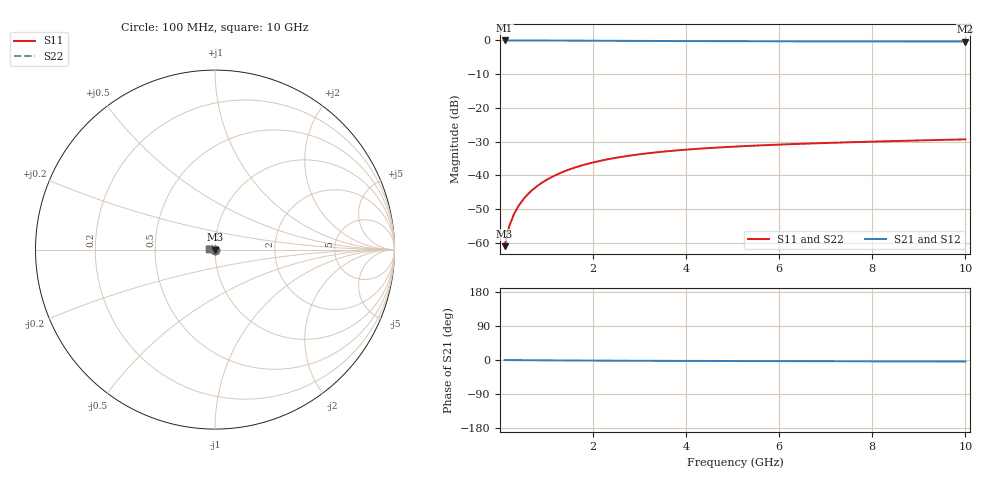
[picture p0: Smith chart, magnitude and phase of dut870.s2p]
! Touchstone file exported from HFSS 2024.1.0
!  File:  C:/UserFiles/LocalFiles/RDL_TSV_Batchsim/temp_TSV1_870_1779882747.aedt
!  Generated:  07:58:58 PM May 27, 2026
!  Design:  TSV1
!  Project:  temp_TSV1_870_1779882747
!  Setup:  Setup1
!  Solution:  Sweep
! Variables:
!  dtsv = 9.76um
!  hbump = 3um
!  htsv = 59.63um
!  lrdl = 252.1521522um
!  p = 40
!  p1 = 51.62um
!  t = 500um
!  trdl = 3um
!  wrdl = 24.89489489um
# GHz S MA R 50.000000
! Terminal data exported
! Port[1] = TSV22_T1
! Port[2] = TSV22_T2
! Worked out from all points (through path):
!   100 points, 100 MHz to 10 GHz, reference 50 ohm
!   highest |S21| = 0.00 dB at 100 MHz (marker M1); lowest = -0.3 dB at 10 GHz (marker M2)
!   lowest |S11| = -61.1 dB at 100 MHz (marker M3), VSWR 1.00, Z = 50 - j0.0878 ohm
!   |S11| at or under -10 dB: start of sweep to end of sweep
!   |S22| runs from -61.1 to -29.4 dB; largest |S21 - S12| = 6e-15
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0.1  0.0008837 -83.6  0.9998 -0.1  0.9998 -0.1  0.0008837 -83.6
! Gamma 0 0 0 0
! Port Impedance 50 0 50 0
0.2  0.001758 -89.5  0.9997 -0.2  0.9997 -0.2  0.001758 -89.5
0.3  0.002634 -92.7  0.9996 -0.3  0.9996 -0.3  0.002634 -92.7
0.4  0.003507 -95.4  0.9993 -0.4  0.9993 -0.4  0.003507 -95.4
0.5  0.004372 -97.7  0.9991 -0.5  0.9991 -0.5  0.004372 -97.7
0.6  0.005227 -100.0  0.9987 -0.6  0.9987 -0.6  0.005227 -100.0
0.7  0.00607 -102.1  0.9984 -0.7  0.9984 -0.7  0.00607 -102.1
0.8  0.0069 -104.1  0.998 -0.7  0.998 -0.7  0.0069 -104.1
0.9  0.007714 -106.1  0.9975 -0.8  0.9975 -0.8  0.007714 -106.1
1.1  0.009294 -109.9  0.9964 -1.0  0.9964 -1.0  0.009294 -109.9
1.4  0.01152 -115.4  0.9947 -1.2  0.9947 -1.2  0.01152 -115.4
1.6  0.01291 -118.8  0.9934 -1.4  0.9934 -1.4  0.01291 -118.8
1.8  0.01422 -122.2  0.992 -1.5  0.992 -1.5  0.01422 -122.2
2.1  0.01602 -126.9  0.99 -1.7  0.99 -1.7  0.01602 -126.9
2.5  0.01815 -132.7  0.9872 -1.9  0.9872 -1.9  0.01815 -132.7
2.9  0.02 -138.0  0.9847 -2.0  0.9847 -2.0  0.02 -138.0
3.4  0.02197 -144.0  0.9817 -2.2  0.9817 -2.2  0.02197 -144.0
4.2  0.02449 -152.4  0.9777 -2.5  0.9777 -2.5  0.02449 -152.4
5.1  0.02668 -160.5  0.9741 -2.8  0.9741 -2.8  0.02668 -160.5
6.7  0.0296 -172.1  0.9696 -3.2  0.9696 -3.2  0.0296 -172.1
8.4  0.03202 178.1  0.9665 -3.6  0.9665 -3.6  0.03202 178.1
10  0.03402 170.3  0.9645 -4.0  0.9645 -4.0  0.03402 170.3
